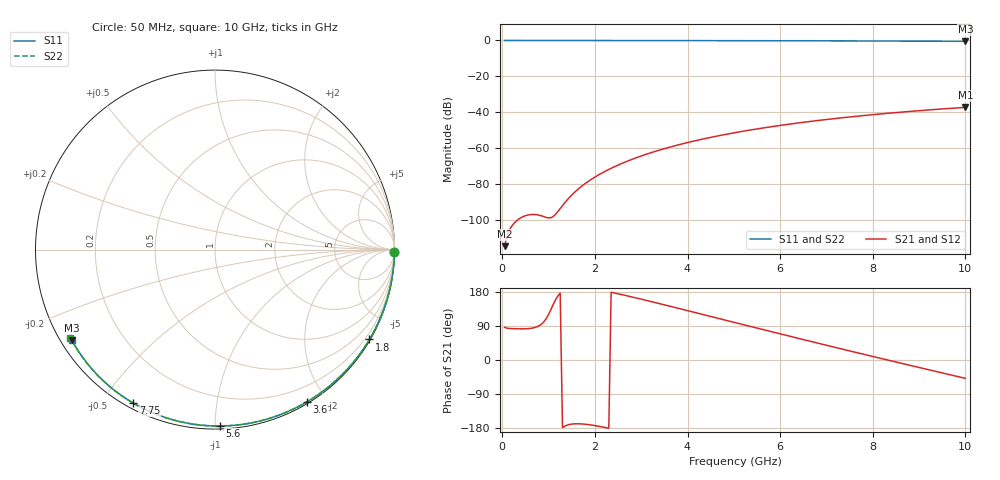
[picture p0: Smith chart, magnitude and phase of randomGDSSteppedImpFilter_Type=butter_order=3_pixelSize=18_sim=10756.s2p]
! freq	dB(S11)	phase(S11)	dB(S12)	phase(S12)
!  dB(S21)	phase(S21)	dB(S22)	phase(S22)
!S-par simulation data
#  GHz  S  DB  R 50
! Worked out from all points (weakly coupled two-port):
!   200 points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, 50 MHz to 10 GHz, reference 50 ohm
!   highest |S21| = -37.22 dB at 10 GHz (marker M1); lowest = -114.5 dB at 50 MHz (marker M2)
!   lowest |S11| = -0.5 dB at 10 GHz (marker M3), VSWR 34.67, Z = 1.56 - j14.5 ohm
!   |S11| at or under -10 dB: nowhere
!   |S22| runs from -0.5 to 0.0 dB; largest |S21 - S12| = 0
!   S11 on the Smith chart (normalised r, x): 50 MHz: open; 1.8 GHz: 0.03, -3.71; 3.6 GHz: 0.02, -1.77; 5.6 GHz: 0.02, -1.03; 7.75 GHz: 0.02, -0.60; 10 GHz: 0.03, -0.29
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0.05  -0.00 -0.9  -114.45 86.1  -114.45 86.1  -0.00 -0.9
0.45  -0.01 -7.7  -97.99 82.2  -97.99 82.2  -0.01 -7.8
0.9  -0.02 -15.3  -98.06 101.2  -98.06 101.2  -0.02 -15.4
1.3  -0.03 -21.9  -91.85 -178.2  -91.85 -178.2  -0.03 -22.2
1.75  -0.04 -29.4  -80.37 -169.0  -80.37 -169.0  -0.04 -29.7
1.8  -0.04 -30.2  -79.41 -169.6  -79.41 -169.6  -0.04 -30.6
1.95  -0.04 -32.7  -76.79 -172.1  -76.79 -172.1  -0.04 -33.0
2.1  -0.04 -35.1  -74.48 -175.2  -74.48 -175.2  -0.05 -35.5
2.3  -0.05 -38.3  -71.75 -180.0  -71.75 -180.0  -0.05 -38.8
2.5  -0.05 -41.6  -69.32 174.8  -69.32 174.8  -0.05 -42.1
2.9  -0.06 -48.0  -65.18 163.5  -65.18 163.5  -0.06 -48.5
3.4  -0.07 -55.8  -60.94 148.6  -60.94 148.6  -0.08 -56.4
3.6  -0.08 -58.9  -59.47 142.5  -59.47 142.5  -0.08 -59.6
4.3  -0.10 -69.6  -55.02 121.1  -55.02 121.1  -0.10 -70.3
5.05  -0.12 -80.6  -51.18 98.0  -51.18 98.0  -0.13 -81.4
5.6  -0.15 -88.5  -48.81 81.2  -48.81 81.2  -0.15 -89.4
6.15  -0.17 -96.3  -46.73 64.4  -46.73 64.4  -0.17 -97.2
6.7  -0.20 -103.8  -44.89 47.8  -44.89 47.8  -0.20 -104.8
7.75  -0.27 -118.0  -41.91 16.6  -41.91 16.6  -0.28 -118.9
8.35  -0.32 -125.9  -40.46 -0.9  -40.46 -0.9  -0.33 -126.9
9.2  -0.41 -137.1  -38.67 -25.5  -38.67 -25.5  -0.41 -138.1
10  -0.50 -147.7  -37.22 -48.4  -37.22 -48.4  -0.50 -148.6
